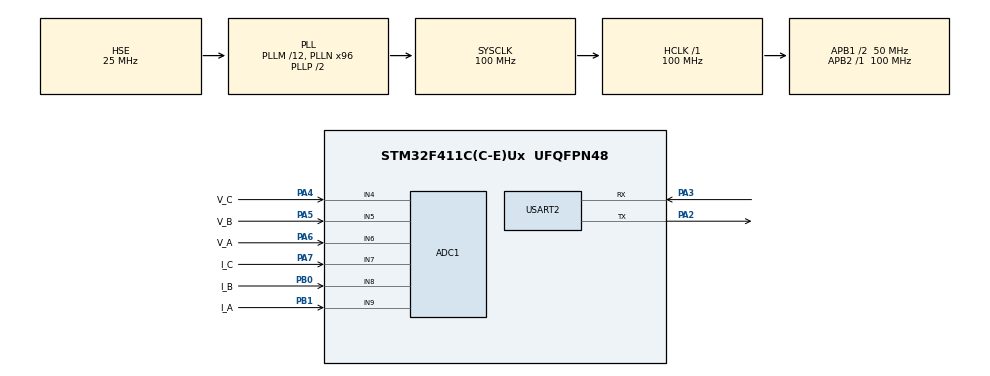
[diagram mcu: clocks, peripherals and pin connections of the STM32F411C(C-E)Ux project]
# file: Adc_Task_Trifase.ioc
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ADC1.Channel-0\#ChannelRegularConversion=ADC_CHANNEL_6
ADC1.Channel-1\#ChannelRegularConversion=ADC_CHANNEL_9
ADC1.Channel-2\#ChannelRegularConversion=ADC_CHANNEL_5
ADC1.Channel-3\#ChannelRegularConversion=ADC_CHANNEL_8
ADC1.Channel-4\#ChannelRegularConversion=ADC_CHANNEL_4
ADC1.Channel-5\#ChannelRegularConversion=ADC_CHANNEL_7
ADC1.ContinuousConvMode=DISABLE
ADC1.DMAContinuousRequests=ENABLE
ADC1.EnableAnalogWatchDog=true
ADC1.ExternalTrigConv=ADC_EXTERNALTRIGCONV_T2_TRGO
ADC1.NbrOfConversion=6
ADC1.NbrOfConversionFlag=1
ADC1.Rank-0\#ChannelRegularConversion=1
ADC1.Rank-1\#ChannelRegularConversion=2
ADC1.Rank-2\#ChannelRegularConversion=3
ADC1.Rank-3\#ChannelRegularConversion=4
ADC1.Rank-4\#ChannelRegularConversion=5
ADC1.Rank-5\#ChannelRegularConversion=6
ADC1.SamplingTime-0\#ChannelRegularConversion=ADC_SAMPLETIME_28CYCLES
ADC1.SamplingTime-1\#ChannelRegularConversion=ADC_SAMPLETIME_28CYCLES
ADC1.SamplingTime-2\#ChannelRegularConversion=ADC_SAMPLETIME_28CYCLES
ADC1.SamplingTime-3\#ChannelRegularConversion=ADC_SAMPLETIME_28CYCLES
ADC1.SamplingTime-4\#ChannelRegularConversion=ADC_SAMPLETIME_28CYCLES
ADC1.SamplingTime-5\#ChannelRegularConversion=ADC_SAMPLETIME_28CYCLES
ADC1.WatchdogChannel=ADC_CHANNEL_6
ADC1.master=1
Dma.ADC1.0.Direction=DMA_PERIPH_TO_MEMORY
Dma.ADC1.0.FIFOMode=DMA_FIFOMODE_DISABLE
Dma.ADC1.0.Instance=DMA2_Stream0
Dma.ADC1.0.MemDataAlignment=DMA_MDATAALIGN_HALFWORD
Dma.ADC1.0.MemInc=DMA_MINC_ENABLE
Dma.ADC1.0.Mode=DMA_CIRCULAR
Dma.ADC1.0.PeriphDataAlignment=DMA_PDATAALIGN_HALFWORD
Dma.ADC1.0.PeriphInc=DMA_PINC_DISABLE
Dma.ADC1.0.Priority=DMA_PRIORITY_VERY_HIGH
Dma.Request0=ADC1
FREERTOS.Tasks01=AdcTaask,24,512,StartAdcTask,Default,NULL,Dynamic,NULL,NULL;UartTask,25,256,StartUartTask,Default,NULL,Dynamic,NULL,NULL
FREERTOS.configUSE_NEWLIB_REENTRANT=1
Mcu.Family=STM32F4
Mcu.Name=STM32F411C(C-E)Ux
Mcu.Package=UFQFPN48
NVIC.DMA2_Stream0_IRQn=true\:5\:0\:false\:false\:true\:true\:false\:true\:true
NVIC.PriorityGroup=NVIC_PRIORITYGROUP_4
NVIC.TIM1_UP_TIM10_IRQn=true\:15\:0\:false\:false\:true\:false\:false\:true\:true
NVIC.TimeBase=TIM1_UP_TIM10_IRQn
NVIC.TimeBaseIP=TIM1
NVIC.USART2_IRQn=true\:5\:0\:false\:false\:true\:true\:true\:true\:true
PA2.Mode=Asynchronous
PA2.Signal=USART2_TX
PA3.Mode=Asynchronous
PA3.Signal=USART2_RX
PA4.GPIO_Label=V_C
PA4.Signal=ADCx_IN4
PA5.GPIO_Label=V_B
PA5.Signal=ADCx_IN5
PA6.GPIO_Label=V_A
PA6.Signal=ADCx_IN6
PA7.GPIO_Label=I_C
PA7.Signal=ADCx_IN7
PB0.GPIO_Label=I_B
PB0.Signal=ADCx_IN8
PB1.GPIO_Label=I_A
PB1.Signal=ADCx_IN9
PH0\ -\ OSC_IN.Mode=HSE-External-Oscillator
PH0\ -\ OSC_IN.Signal=RCC_OSC_IN
PH1\ -\ OSC_OUT.Mode=HSE-External-Oscillator
PH1\ -\ OSC_OUT.Signal=RCC_OSC_OUT
ProjectManager.HeapSize=0x200
ProjectManager.StackSize=0x400
ProjectManager.TargetToolchain=STM32CubeIDE
RCC.48MHZClocksFreq_Value=50000000
RCC.AHBFreq_Value=100000000
RCC.APB1CLKDivider=RCC_HCLK_DIV2
RCC.APB1Freq_Value=50000000
RCC.APB1TimFreq_Value=100000000
RCC.APB2Freq_Value=100000000
RCC.APB2TimFreq_Value=100000000
RCC.CortexFreq_Value=100000000
RCC.HCLKFreq_Value=100000000
RCC.HSE_VALUE=25000000
RCC.HSI_VALUE=16000000
RCC.LSE_VALUE=32768
RCC.PLLM=12
RCC.PLLN=96
RCC.PLLSourceVirtual=RCC_PLLSOURCE_HSE
RCC.SYSCLKFreq_VALUE=100000000
RCC.SYSCLKSource=RCC_SYSCLKSOURCE_PLLCLK
RCC.VCOOutputFreq_Value=200000000
SH.ADCx_IN4.0=ADC1_IN4,IN4
SH.ADCx_IN5.0=ADC1_IN5,IN5
SH.ADCx_IN6.0=ADC1_IN6,IN6
SH.ADCx_IN7.0=ADC1_IN7,IN7
SH.ADCx_IN8.0=ADC1_IN8,IN8
SH.ADCx_IN9.0=ADC1_IN9,IN9
TIM2.Period=13020
TIM2.TIM_MasterOutputTrigger=TIM_TRGO_UPDATE
USART2.VirtualMode=VM_ASYNC
VP_FREERTOS_VS_CMSIS_V2.Mode=CMSIS_V2
VP_SYS_VS_tim1.Mode=TIM1
VP_TIM2_VS_ClockSourceINT.Mode=Internal
board=custom

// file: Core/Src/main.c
/* USER CODE BEGIN Header */
/**
  ******************************************************************************
  * @file           : main.c
  * @brief          : Main program body
  ******************************************************************************
  * @attention
  *
  * Copyright (c) 2025 STMicroelectronics.
  * All rights reserved.
  *
  * This software is licensed under terms that can be found in the LICENSE file
  * in the root directory of this software component.
  * If no LICENSE file comes with this software, it is provided AS-IS.
  *
  ******************************************************************************
  */

/* USER CODE END Header */
#include "main.h"
#include "cmsis_os.h"

/* USER CODE BEGIN Includes */
#include "queue.h"
#include "semphr.h"
#include <math.h>
QueueHandle_t energyqueueHandle;
QueueHandle_t rxuartqueueHandle;
SemaphoreHandle_t uartBinSemaHandle;
QueueHandle_t adchalfselectQueueHandle;
extern UART_HandleTypeDef huart2;
/* USER CODE END Includes */

/* USER CODE BEGIN PTD */

#define MAX_DATA_LEN 	122
typedef struct __attribute__((packed)) _ENERGY_DATA
{
	uint32_t rms_current;
	uint32_t rms_voltage;
	uint32_t pot_aparente;
	uint32_t pot_reativa;
	uint32_t  pot_ativa;
	uint16_t pf;

}ENERGY_DATA; // 176 bit e 22 bytes

//
typedef struct __attribute__((packed)) thee_phase_energy_data_t_ {
	ENERGY_DATA phaseA;
	ENERGY_DATA phaseB;
	ENERGY_DATA phaseC;
	uint64_t consumption;
	uint32_t TotalM_Voltag;
	uint32_t Total_AC_current;
	uint16_t Total_PowerAparent;
	uint32_t Total_PowerReativa;
	uint32_t Total_PowerAtiva;
	uint32_t Total_PowerFactor;
}thee_phase_energy_data_t; // 768 bits e 96 Bytes

typedef union type_ {
	uint32_t bits32;
	uint16_t bits16[2];
}uint32_16_t;

typedef enum {
  UMS_RECEIVING,
  UMS_PROCESSING_RESPONSE_PACKAGE,
  UMS_SENDING_RESPONSE,
  UMS_TIMEOUT
} UART_MACHINE_STATES;

typedef enum ERRORS_LISTtag
{
    EL_NO_ERROR = 0x00,
    EL_INVALID_OPCODE = 0x01,
    EL_INVALID_DATA = 0x02,
    EL_MEMORY_WRITE_ERROR = 0x03,

    EL_NUM_ERRORS
}ERRORS_LIST;

typedef enum {
  UPP_STX,
  UPP_DEVICE_ADDRESS,
  UPP_OPCODE,
  UPP_DATA_LEN,
  UPP_DATA,
  UPP_CHECKSUM,
  UPP_ETX
} UART_PACKAGE_PARTS;
typedef struct {
  unsigned char uc_Stx;
  unsigned char uc_DeviceAddress;
  unsigned char uc_OpCode;
  unsigned char uc_Datalen;
  unsigned char uc_Data[MAX_DATA_LEN];
  unsigned char uc_Checksum;
  unsigned char uc_Etx;
} UART_PACKAGE_PROTOCOL;

// ---- VARIÁVEIS DA UART ----
UART_MACHINE_STATES m_udtUartmachineStates;
UART_PACKAGE_PARTS m_udtUartPackageParts;
UART_PACKAGE_PROTOCOL m_udtReceptionPackage;
UART_PACKAGE_PROTOCOL m_udtTransmitionPackage;

uint8_t m_ucCorrentDataPos = 0;
uint8_t m_ucCalculatedChecksum = 0;
uint8_t m_blnProcessingScapeChar = 0;
uint8_t m_blnReply = 0;

uint8_t rx_buffer; // Buffer de 1 byte para o Callback RX
uint8_t tx_buffer[MAX_DATA_LEN + 10]; // Buffer final de envio
uint8_t m_ucTXBufferCorrentDataPos = 0;

/* USER CODE END PTD */

/* USER CODE BEGIN PD */
#define ADC_RESOLUTION	0.0008056641//0.000837696335f//0.996551//Encontra a tensão da Saída do Sensor x100
#define V_SENSIBILITY 	135.0//789.1033381f//808.1496160//63.37024//Encounter a tensão de entrada do Sensor  x100
#define V_GAIN			ADC_RESOLUTION * V_SENSIBILITY

//DEFINE UART

#define STX 0x02
#define ETX 0x03
#define ESC 0x1B
#define ESC_INC 0x40
#define DEVICE_ADDR 0x01
#define RESPONSE_OPCODE_MASK 0x80

// OPCODES
#define UO_KEEPALIVE 0x01
#define UO_GET_DATA 0x02
#define UO_SETCONFIG 0x03

// ERROS
#define EL_NO_ERROR 0x00
#define EL_INVALID_DATA 0x01
#define EL_MEMORY_WRITE_ERROR 0x02
#define EL_INVALID_OPCODE 0x03

//#define C2_SENSOR_MULT	0.0008056641//0.000878232758f//0.362903//Encontra a tensão da Saída do Sensor x100
#define A_SENSIBILITY	7.575f//5.4691//Encontra a Corrente de entrada do Sensor  x100
#define A_GAIN			ADC_RESOLUTION * A_SENSIBILITY

#define F_BUFFER_SIZE	(256*3)
#define H_BUFFER_SIZE	(128*3)
/*
Isso vai causar um bug de memória grave (seus dados vão virar uma bagunça ou continuar zerados), e eu vou te explicar o porquê de forma simples:
O F_BUFFER_SIZE atual é 768. O DMA vai jogar 768 dados de 16 bits na memória e avisar que chegou na metade (em 384). Mas como o seu array adcBuffer é d
e 32 bits, quando você manda ele ler a posição H_BUFFER_SIZE (384), ele está na verdade indo buscar o dado no endereço 768 da memória... onde não tem nada do ADC! Ele "passa direto" de onde o DMA escreveu.

*/
/*
#define F_BUFFER_SIZE	(128*3) // 384 índices (comportam 768 dados de 16 bits do DMA)
#define H_BUFFER_SIZE	(64*3)  // 192 índices
*/

#define Amostragens 128

#define MIN_RMS_VOLTAGE 300 // pRAque que serve?

uint32_16_t adcBuffer[F_BUFFER_SIZE];
float 	adc_voltageA[Amostragens];
float 	adc_currentA[Amostragens];
float 	adc_voltageB[Amostragens];
float 	adc_currentB[Amostragens];
float 	adc_voltageC[Amostragens];
float 	adc_currentC[Amostragens];

/* USER CODE END PD */

ADC_HandleTypeDef hadc1;
DMA_HandleTypeDef hdma_adc1;

TIM_HandleTypeDef htim2;

UART_HandleTypeDef huart2;

/* Definitions for AdcTaask */
osThreadId_t AdcTaaskHandle;
const osThreadAttr_t AdcTaask_attributes = {
  .name = "AdcTaask",
  .stack_size = 512 * 4,
  .priority = (osPriority_t) osPriorityNormal,
};
/* Definitions for UartTask */
osThreadId_t UartTaskHandle;
const osThreadAttr_t UartTask_attributes = {
  .name = "UartTask",
  .stack_size = 256 * 4,
  .priority = (osPriority_t) osPriorityNormal1,
};
/* USER CODE BEGIN PV */

thee_phase_energy_data_t EnergyData;

/* USER CODE END PV */

void SystemClock_Config(void);
static void MX_GPIO_Init(void);
static void MX_DMA_Init(void);
static void MX_ADC1_Init(void);
static void MX_TIM2_Init(void);
static void MX_USART2_UART_Init(void);
void StartAdcTask(void *argument);
void StartUartTask(void *argument);

/* USER CODE BEGIN PFP */
void Serialize16Bits(uint16_t value, uint8_t *buffer, uint8_t pos)
{
    buffer[pos] = (uint8_t)((value >> 8) & 0xFF);
    pos++;
    buffer[pos] = (uint8_t)(value & 0xFF);

}

void Serialize32Bits(uint32_t value, uint8_t *buffer, uint8_t pos)
{
    buffer[(pos)] = (uint8_t)((value >> 24) & 0xFF);
    pos++;
    buffer[pos] = (uint8_t)((value >> 16) & 0xFF);
    pos++;
    buffer[pos] = (uint8_t)((value >> 8) & 0xFF);
    pos++;
    buffer[pos] = (uint8_t)(value & 0xFF);
}

void Serialize64Bits(uint64_t value, uint8_t *buffer, uint8_t pos)
{
    buffer[pos] = (uint8_t)((value >> 56) & 0xFF);
    pos++;
    buffer[pos] = (uint8_t)((value >> 48) & 0xFF);
    pos++;
    buffer[(pos)] = (uint8_t)((value >> 40) & 0xFF);
    pos++;
    buffer[(pos)] = (uint8_t)((value >> 32) & 0xFF);
    pos++;
    buffer[(pos)] = (uint8_t)((value >> 24) & 0xFF);
    pos++;
    buffer[(pos)] = (uint8_t)((value >> 16) & 0xFF);
    pos++;
    buffer[(pos)] = (uint8_t)((value >> 8) & 0xFF);
    pos++;
    buffer[(pos)] = (uint8_t)(value & 0xFF);

}

/* USER CODE END PFP */

/* USER CODE BEGIN 0 */
void ResetSerial()
{
  // Inicialmente estamos aguardando a recepção dos dados do dispositivo remoto.
  m_udtUartmachineStates = UMS_RECEIVING;
  // Inicialmente estamos aguardando o STX
  m_udtUartPackageParts = UPP_STX;
  // Cria os ponteiros para os pacotes
  unsigned char* pucReceptionpackage = &m_udtReceptionPackage.uc_Stx;
  unsigned char* pucTranmitionpackage = &m_udtTransmitionPackage.uc_Stx;

  unsigned char ucPosition = 0;

  // Prepara a varredura
  while(ucPosition <  sizeof(UART_PACKAGE_PROTOCOL))
  {
      *pucReceptionpackage = 0x00;
      *pucTranmitionpackage = 0x00;
      pucReceptionpackage++;
      pucTranmitionpackage++;

     ucPosition++;
  }

  // Inicializa a posição a ser processada como 0.
  m_ucCorrentDataPos = 0x00;

  // Inicializa o Checksum calculado com 0
  m_ucCalculatedChecksum = 0;

}

unsigned char CalculateChecksum(unsigned char* udtpackage, unsigned char ucLen);
uint8_t SendData(unsigned char ucDataTosend, uint8_t blnIsSpecialChar);

void UartMainProcess(unsigned char ucData)
{
  switch (m_udtUartmachineStates)
  {
    case UMS_RECEIVING:
    {

//      // Verifica se existem dados para ler
      /*if(Serial2.available() == 0)
//      {
        // Sem dados para ler.
        ///////////////////////

        // Cai fora
         break;
       }*/

      // recebe o dado da queue

      /////////////////////////////////////////////////
      // Processamento dos caracteres especiais
      /////////////////////////////////////////////////

      // Verifica se é um inicializador de pacotes
      if( (ucData == STX) && (m_udtUartPackageParts == UPP_STX) )
      {
          // Inicializador de pacotes.
          //////////////////////////////

          // Reseta a serial;
          ResetSerial();

          // Guarda o dado recebido
          m_udtReceptionPackage.uc_Stx = STX;

          // Vai para o próximo estado
          m_udtUartPackageParts = (UART_PACKAGE_PARTS)UPP_DEVICE_ADDRESS;

          // Cai fora.
          break;
      }

      // Verifica se é um terminador de pacotes
      if( ucData == ETX )
      {
        // Terminador de pacotes.
        //////////////////////////////

        // Verifica se está na hora de receber esse dado.
        if( m_udtUartPackageParts != (UART_PACKAGE_PARTS)UPP_ETX )
        {
          // Dado incorreto.
          //////////////////

          // Reseta a serial;
          ResetSerial();

          // Cai fora.
          break;
        }

        m_udtReceptionPackage.uc_Etx = ETX;

        // Vai para o próximo estado
        m_udtUartmachineStates = UMS_PROCESSING_RESPONSE_PACKAGE;
        m_udtUartPackageParts = (UART_PACKAGE_PARTS)UPP_STX;

        // Cai fora
        break;
      }

      // Verifica se é um scape char e se esse deve ser tratado
      if(ucData == ESC)
      {
        m_blnProcessingScapeChar = 1;

        break;
      }

      // Verifica se está no dado pós scape char
      if(m_blnProcessingScapeChar == 1)
      {
        // Dado pós scape char
        ///////////////////////

        // Processa o dado
        ucData = ucData & ~ESC_INC;

        // Indica que já tratou
        m_blnProcessingScapeChar = 0;
      }

      switch (m_udtUartPackageParts)
      {
        case UPP_DEVICE_ADDRESS:
        {
          // Verifica se o dado recebido é o correto.
          if( ucData == DEVICE_ADDR )
          {
              // Dado correto.
              //////////////////

              // Guarda o dado recebido
              m_udtReceptionPackage.uc_DeviceAddress = ucData;

              // Vai para o próximo estado
              m_udtUartPackageParts = (UART_PACKAGE_PARTS)UPP_OPCODE;
          }
        }
        break;
        case UPP_OPCODE:
        {
          // Guarda o dado recebido
          m_udtReceptionPackage.uc_OpCode = ucData;

          // Vai para o próximo estado
          m_udtUartPackageParts = (UART_PACKAGE_PARTS)UPP_DATA_LEN;

        }
        break;
        case UPP_DATA_LEN:
        {
          // Verifica se o dado recebido é o correto.
          if( ucData >= MAX_DATA_LEN )
          {
              // OpCode inválido.
              //////////////////

              // Reseta a serial;
              ResetSerial();

              // Cai fora.
              break;
          }

          // Guarda o dado recebido
          m_udtReceptionPackage.uc_Datalen = ucData;

          // Verifica se existirão dados
          if (m_udtReceptionPackage.uc_Datalen > 0)
          {
              // Existirão dados.
              // /////////////////

              // Vai para o próximo estado
              m_udtUartPackageParts = (UART_PACKAGE_PARTS)UPP_DATA;
          }
          else
          {
              // Não existirão dados.
              // /////////////////////

              // Vai para o próximo estado
              m_udtUartPackageParts = (UART_PACKAGE_PARTS)UPP_CHECKSUM;
          }

        }
        break;
        case UPP_DATA:
        {
          // Guarda o dado recebido
          m_udtReceptionPackage.uc_Data[m_ucCorrentDataPos] = ucData;

          // Incrementa a posição
          m_ucCorrentDataPos++;

          // Verifica se atingiu o número de dados
          if(m_ucCorrentDataPos >= m_udtReceptionPackage.uc_Datalen)
          {
            // Chegou ao fim dos dados
            /////////////////////////////

            // Vai para o próximo estado
            m_udtUartPackageParts = (UART_PACKAGE_PARTS)UPP_CHECKSUM;
          }
        }
        break;
        case UPP_CHECKSUM:
        {
          // Guarda o dado recebido
          m_udtReceptionPackage.uc_Checksum = ucData;

          // Calcula o checksum do pacote
          m_ucCalculatedChecksum = CalculateChecksum(&m_udtReceptionPackage.uc_Stx, (1 + 1 + 1 + 1 + m_udtReceptionPackage.uc_Datalen +1));

          // Verifica se o checksum bateu
          if(m_udtReceptionPackage.uc_Checksum != m_ucCalculatedChecksum)
          {
            // Não bateu
            /////////////

            // Reseta a serial;
            ResetSerial();

            // Cai fora
            break;
          }

          // Vai para o próximo estado
          m_udtUartPackageParts = (UART_PACKAGE_PARTS)UPP_ETX;
        }
        break;
        case UPP_STX:
        case UPP_ETX:
        	break;
      }
    }
    break;
    case UMS_PROCESSING_RESPONSE_PACKAGE:
    {
      // Prepara os dados fixos do pacote
      m_udtTransmitionPackage.uc_Stx = STX;
      m_udtTransmitionPackage.uc_Etx = ETX;
      m_udtTransmitionPackage.uc_DeviceAddress = 0x01;
      m_udtTransmitionPackage.uc_OpCode = RESPONSE_OPCODE_MASK | m_udtReceptionPackage.uc_OpCode;

      switch( m_udtReceptionPackage.uc_OpCode )
      {
         case UO_KEEPALIVE:
         {
            // Prepara o pacote de resposta
            m_udtTransmitionPackage.uc_Datalen = 0x00;

         }
         break;
         case UO_GET_DATA:
                  {
                      thee_phase_energy_data_t m_udtEnergyDataPacket;

                      // 1. Lê os dados reais vindos da Task do ADC
                      xQueueReceive(energyqueueHandle, &m_udtEnergyDataPacket, portMAX_DELAY);

                      // 2. Serializa os dados recebidos da fila (82 bytes no total)
                      m_udtTransmitionPackage.uc_Datalen = 82;

                      // PHASE A (0 a 17)
                      Serialize16Bits(m_udtEnergyDataPacket.phaseA.rms_voltage, m_udtTransmitionPackage.uc_Data, 0);
                      Serialize16Bits(m_udtEnergyDataPacket.phaseA.rms_current, m_udtTransmitionPackage.uc_Data, 2);
                      Serialize16Bits(m_udtEnergyDataPacket.phaseA.pf,          m_udtTransmitionPackage.uc_Data, 4);
                      Serialize32Bits(m_udtEnergyDataPacket.phaseA.pot_aparente,m_udtTransmitionPackage.uc_Data, 6);
                      Serialize32Bits(m_udtEnergyDataPacket.phaseA.pot_ativa,   m_udtTransmitionPackage.uc_Data, 10);
                      Serialize32Bits(m_udtEnergyDataPacket.phaseA.pot_reativa, m_udtTransmitionPackage.uc_Data, 14);

                      // PHASE B (18 a 35)
                      Serialize16Bits(m_udtEnergyDataPacket.phaseB.rms_voltage, m_udtTransmitionPackage.uc_Data, 18);
                      Serialize16Bits(m_udtEnergyDataPacket.phaseB.rms_current, m_udtTransmitionPackage.uc_Data, 20);
                      Serialize16Bits(m_udtEnergyDataPacket.phaseB.pf,          m_udtTransmitionPackage.uc_Data, 22);
                      Serialize32Bits(m_udtEnergyDataPacket.phaseB.pot_aparente,m_udtTransmitionPackage.uc_Data, 24);
                      Serialize32Bits(m_udtEnergyDataPacket.phaseB.pot_ativa,   m_udtTransmitionPackage.uc_Data, 28);
                      Serialize32Bits(m_udtEnergyDataPacket.phaseB.pot_reativa, m_udtTransmitionPackage.uc_Data, 32);

                      // PHASE C (36 a 53)
                      Serialize16Bits(m_udtEnergyDataPacket.phaseC.rms_voltage, m_udtTransmitionPackage.uc_Data, 36);
                      Serialize16Bits(m_udtEnergyDataPacket.phaseC.rms_current, m_udtTransmitionPackage.uc_Data, 38);
                      Serialize16Bits(m_udtEnergyDataPacket.phaseC.pf,          m_udtTransmitionPackage.uc_Data, 40);
                      Serialize32Bits(m_udtEnergyDataPacket.phaseC.pot_aparente,m_udtTransmitionPackage.uc_Data, 42);
                      Serialize32Bits(m_udtEnergyDataPacket.phaseC.pot_ativa,   m_udtTransmitionPackage.uc_Data, 46);
                      Serialize32Bits(m_udtEnergyDataPacket.phaseC.pot_reativa, m_udtTransmitionPackage.uc_Data, 50);

                      // DADOS TOTAIS E CONSUMO (54 a 83)
                      Serialize16Bits(m_udtEnergyDataPacket.Total_PowerAparent, m_udtTransmitionPackage.uc_Data, 54);
                      Serialize32Bits(m_udtEnergyDataPacket.TotalM_Voltag,      m_udtTransmitionPackage.uc_Data, 56);
                      Serialize32Bits(m_udtEnergyDataPacket.Total_AC_current,   m_udtTransmitionPackage.uc_Data, 60);
                      Serialize32Bits(m_udtEnergyDataPacket.Total_PowerAtiva,   m_udtTransmitionPackage.uc_Data, 64);
                      Serialize32Bits(m_udtEnergyDataPacket.Total_PowerFactor,  m_udtTransmitionPackage.uc_Data, 68);
                      Serialize32Bits(m_udtEnergyDataPacket.Total_PowerReativa, m_udtTransmitionPackage.uc_Data, 72);
                      Serialize64Bits(m_udtEnergyDataPacket.consumption,        m_udtTransmitionPackage.uc_Data, 76);
                  }
                  break;
         case UO_SETCONFIG:
         		 {
         			 ERRORS_LIST udtError = EL_NO_ERROR;
         			 uint8_t blnStatus = 0;

         			 // Verifica se o tamanho do pacote condiz com o esperado
         			 if (m_udtReceptionPackage.uc_Datalen == 4)
         			 {
         				 // Era a opcao 1
         				 //////////////////////////////////

         			 }
         			 else if (m_udtReceptionPackage.uc_Datalen == 0)
         			 {
         				 // Ou a opcao 2
         				 ///////////////////////////////

         				// Executa alguma funcao que retorna booleano de validação
         				//blnStatus = SaveParameters(bytLocation);
         			 }
         			 else
         			 {
         				 //Erro, dados inválidos
         				 /////////////////////////

         				 // Indica o erro
         				 udtError = EL_INVALID_DATA;
         			 }

         			 //Verifica se já veio com erro
         			 if (udtError == EL_NO_ERROR)
         			 {
         				 // Chegou sem erros
         				 ////////////////////

         				 // Verifica se deu algum erro de escrita
         				 if (blnStatus == 0)
         				 {
         					 // Deu erro de escrita
         					 /////////////////////////

         					 // Guarda o erro.
         					 udtError = EL_MEMORY_WRITE_ERROR;
         				 }
         			 }
         			// Prepara os dados que serão enviados (resposta de valdiação)
         			m_udtTransmitionPackage.uc_Datalen = 0x01;	//tamanho do pacote de resposta
         			m_udtTransmitionPackage.uc_Data[0] = (uint8_t)udtError & 0xFF;
         		 }
         		 break;

		 default:
		 {
			 // Retorna um erro
			 ///////////////////

			 // Força o OPCODE de erro

			 m_udtTransmitionPackage.uc_OpCode = RESPONSE_OPCODE_MASK | UO_SETCONFIG;
			m_udtTransmitionPackage.uc_Datalen = 0x01;
			m_udtTransmitionPackage.uc_Data[0] = EL_INVALID_OPCODE;
		 }
      }

      // Calcula o Checksum do pacote a ser enviado
      m_udtTransmitionPackage.uc_Checksum = CalculateChecksum(&m_udtTransmitionPackage.uc_Stx, (1 + 1 + 1 + 1 + m_udtTransmitionPackage.uc_Datalen + 1));

      // Vai para o próximo estado
      m_udtUartmachineStates = UMS_SENDING_RESPONSE;
      m_udtUartPackageParts = (UART_PACKAGE_PARTS)UPP_STX;
    }
    break;
    case UMS_SENDING_RESPONSE:
    {
      //Aqui poderia verificar se a serial está disponivel para responder
//      if( Serial2.availableForWrite() == 0 )
//      {
//        // Não pode transmitir.
//        /////////////////////////
//
//        // Cai fora.
//        break;
//      }

      switch (m_udtUartPackageParts)
      {
        case UPP_STX:
        {
          // Escreve
          if(SendData(m_udtTransmitionPackage.uc_Stx, 1) == 1)
          {
            // Vai para o próximo estado
            m_udtUartPackageParts = (UART_PACKAGE_PARTS)UPP_DEVICE_ADDRESS;
          }
        }
        break;
        case UPP_DEVICE_ADDRESS:
        {
          // Escreve
          if(SendData(m_udtTransmitionPackage.uc_DeviceAddress, 0) == 1)
          {
            // Vai para o próximo estado
            m_udtUartPackageParts = (UART_PACKAGE_PARTS)UPP_OPCODE;
          }
        }
        break;
        case UPP_OPCODE:
        {
          // Escreve
          if(SendData(m_udtTransmitionPackage.uc_OpCode, 0) == 1)
          {
            // Vai para o próximo estado
            m_udtUartPackageParts = (UART_PACKAGE_PARTS)UPP_DATA_LEN;
          }
        }
        break;
        case UPP_DATA_LEN:
        {
          // Escreve
          if(SendData(m_udtTransmitionPackage.uc_Datalen, 0) == 1)
          {
            // Zera a posição
            m_ucCorrentDataPos = 0x00;

            // Verifica se existirão dados
            if (m_udtTransmitionPackage.uc_Datalen > 0)
            {
                // Existirão dados.
                // /////////////////

                // Vai para o próximo estado
                m_udtUartPackageParts = (UART_PACKAGE_PARTS)UPP_DATA;
            }
            else
            {
                // Não existirão dados.
                ////////////////////////

                // Vai para o próximo estado
                m_udtUartPackageParts = (UART_PACKAGE_PARTS)UPP_CHECKSUM;
            }
          }
        }
        break;
        case UPP_DATA:
        {
          // Escreve
          if(SendData(m_udtTransmitionPackage.uc_Data[m_ucCorrentDataPos], 0) == 1)
          {
            // Incrementa a posição
            m_ucCorrentDataPos++;

            // Verifica se atingiu o número de dados
            if(m_ucCorrentDataPos >= m_udtTransmitionPackage.uc_Datalen)
            {
              // Chegou ao fim dos dados
              /////////////////////////////

              // Vai para o próximo estado
              m_udtUartPackageParts = (UART_PACKAGE_PARTS)UPP_CHECKSUM;
            }
          }

        }
        break;
        case UPP_CHECKSUM:
        {
          // Escreve
          if(SendData(m_udtTransmitionPackage.uc_Checksum, 0) == 1)
          {
            // Vai para o próximo estado
            m_udtUartPackageParts = (UART_PACKAGE_PARTS)UPP_ETX;
          }
        }
        break;
        case UPP_ETX:
        {
          // Escreve
          if(SendData(m_udtTransmitionPackage.uc_Etx, 1) == 1)
          {
        	 //Indica para a task que pode enviar a resposta
        	 m_blnReply = 1;

        	 ResetSerial();
          }
        }
        break;
      }
    }
    break;
    case UMS_TIMEOUT:
    {
      // Timeout
      ////////////

      // Reseta a serial;
      ResetSerial();
    }
    break;
  }

}
uint8_t SendData(unsigned char ucDataTosend, uint8_t blnIsSpecialChar)
{

  // Cria a variável de retorno indicando que foi um dado normal
  // false indica um scape char e não deve ir para o próximo
  uint8_t blnReturnValue = 1;

  // Verifica se é um caractere especial.
  if( blnIsSpecialChar == 0 )
  {
    // Não é um caractere especial,
    // devemos tratar
    ///////////////////////////////

    // Verifica se processou um caractere especial na última passada.
    if( m_blnProcessingScapeChar == 1 )
    {
      // Sinalizou um caractere igual a um
      // especial na última passada.
      ///////////////////////////////////////

      // Altera o dado
      ucDataTosend = ucDataTosend | ESC_INC;

      // Indica que já processou.
      m_blnProcessingScapeChar = 0;
    }
    else
    {
      // Não foi um igual a especial na última passada.
      ////////////////////////////////////////////////////

      // Verifica se é item igual a um especial
      if(
          (ucDataTosend == STX)
          ||(ucDataTosend == ETX)
          ||(ucDataTosend == ESC))
      {
        // É um especial
        /////////////////

        // Eviou um scape char, não deve avançar
        blnReturnValue = 0;

        // Indica que enviou um especial
        m_blnProcessingScapeChar = 1;

        // altera o dado
        ucDataTosend = ESC;
      }
    }
  }

  tx_buffer[m_ucTXBufferCorrentDataPos] = ucDataTosend;
  m_ucTXBufferCorrentDataPos++;

  //Serial2.write(ucDataTosend);

  return blnReturnValue;
}

unsigned char CalculateChecksum(unsigned char* udtpackage, unsigned char ucLen)
{
  // Cria a inicializa a variável de retorno.
  unsigned char ucChecksum = 0;

  // Cria a variável do controle de posição
  unsigned char ucPosition = 0;

  // Prepara a varredura
  while(ucPosition < ucLen)
  {
    //Varre os dados.
    //////////////////

    // Soma  o valor da vez.
    ucChecksum = ucChecksum + *udtpackage;

    // Atualiza os indices
    udtpackage++;
    ucPosition++;

  }

  // Retorna a informação
  return ucChecksum;
}

/* USER CODE END 0 */

int main(void)
{

  /* MCU Configuration--------------------------------------------------------*/

  /* Reset of all peripherals, Initializes the Flash interface and the Systick. */
  HAL_Init();

  /* Configure the system clock */
  SystemClock_Config();

  /* Initialize all configured peripherals */
  MX_GPIO_Init();
  MX_DMA_Init();
  MX_ADC1_Init();
  MX_TIM2_Init();
  MX_USART2_UART_Init();
  /* USER CODE BEGIN 2 */

 	    /* USER CODE END StartAdcTask */

  /* USER CODE END 2 */

  /* Init scheduler */
  osKernelInitialize();

  /* USER CODE BEGIN RTOS_QUEUES */
  /* add queues, ... */
  // Fila para mandar os dados do ADC para a UART (Tamanho 1, pois só queremos o dado mais recente)
    energyqueueHandle = xQueueCreate(1, sizeof(thee_phase_energy_data_t));

    // Fila para receber bytes da porta serial
    rxuartqueueHandle = xQueueCreate(64, sizeof(uint8_t));

    // Semáforo para avisar o fim da transmissão TX
    uartBinSemaHandle = xSemaphoreCreateBinary();

    // Fila para o sinal do DMA (tamanho 1, guarda apenas um uint8_t)
    adchalfselectQueueHandle = xQueueCreate(1, sizeof(uint8_t));
  /* USER CODE END RTOS_QUEUES */

  /* Create the thread(s) */
  /* creation of AdcTaask */
  AdcTaaskHandle = osThreadNew(StartAdcTask, NULL, &AdcTaask_attributes);

  /* creation of UartTask */
  UartTaskHandle = osThreadNew(StartUartTask, NULL, &UartTask_attributes);

  /* Start scheduler */
  osKernelStart();

  /* We should never get here as control is now taken by the scheduler */

  /* Infinite loop */
  while (1)
  {

  }
}

void SystemClock_Config(void)
{
  RCC_OscInitTypeDef RCC_OscInitStruct = {0};
  RCC_ClkInitTypeDef RCC_ClkInitStruct = {0};

  /** Configure the main internal regulator output voltage
  */
  __HAL_RCC_PWR_CLK_ENABLE();
  __HAL_PWR_VOLTAGESCALING_CONFIG(PWR_REGULATOR_VOLTAGE_SCALE1);

  /** Initializes the RCC Oscillators according to the specified parameters
  * in the RCC_OscInitTypeDef structure.
  */
  RCC_OscInitStruct.OscillatorType = RCC_OSCILLATORTYPE_HSE;
  RCC_OscInitStruct.HSEState = RCC_HSE_ON;
  RCC_OscInitStruct.PLL.PLLState = RCC_PLL_ON;
  RCC_OscInitStruct.PLL.PLLSource = RCC_PLLSOURCE_HSE;
  RCC_OscInitStruct.PLL.PLLM = 12;
  RCC_OscInitStruct.PLL.PLLN = 96;
  RCC_OscInitStruct.PLL.PLLP = RCC_PLLP_DIV2;
  RCC_OscInitStruct.PLL.PLLQ = 4;
  if (HAL_RCC_OscConfig(&RCC_OscInitStruct) != HAL_OK)
  {
    Error_Handler();
  }

  /** Initializes the CPU, AHB and APB buses clocks
  */
  RCC_ClkInitStruct.ClockType = RCC_CLOCKTYPE_HCLK|RCC_CLOCKTYPE_SYSCLK
                              |RCC_CLOCKTYPE_PCLK1|RCC_CLOCKTYPE_PCLK2;
  RCC_ClkInitStruct.SYSCLKSource = RCC_SYSCLKSOURCE_PLLCLK;
  RCC_ClkInitStruct.AHBCLKDivider = RCC_SYSCLK_DIV1;
  RCC_ClkInitStruct.APB1CLKDivider = RCC_HCLK_DIV2;
  RCC_ClkInitStruct.APB2CLKDivider = RCC_HCLK_DIV1;

  if (HAL_RCC_ClockConfig(&RCC_ClkInitStruct, FLASH_LATENCY_3) != HAL_OK)
  {
    Error_Handler();
  }
}

static void MX_ADC1_Init(void)
{

  ADC_AnalogWDGConfTypeDef AnalogWDGConfig = {0};
  ADC_ChannelConfTypeDef sConfig = {0};

  /** Configure the global features of the ADC (Clock, Resolution, Data Alignment and number of conversion)
  */
  hadc1.Instance = ADC1;
  hadc1.Init.ClockPrescaler = ADC_CLOCK_SYNC_PCLK_DIV4;
  hadc1.Init.Resolution = ADC_RESOLUTION_12B;
  hadc1.Init.ScanConvMode = ENABLE;
  hadc1.Init.ContinuousConvMode = DISABLE;
  hadc1.Init.DiscontinuousConvMode = DISABLE;
  hadc1.Init.ExternalTrigConvEdge = ADC_EXTERNALTRIGCONVEDGE_RISING;
  hadc1.Init.ExternalTrigConv = ADC_EXTERNALTRIGCONV_T2_TRGO;
  hadc1.Init.DataAlign = ADC_DATAALIGN_RIGHT;
  hadc1.Init.NbrOfConversion = 6;
  hadc1.Init.DMAContinuousRequests = ENABLE;
  hadc1.Init.EOCSelection = ADC_EOC_SINGLE_CONV;
  if (HAL_ADC_Init(&hadc1) != HAL_OK)
  {
    Error_Handler();
  }

  /** Configure the analog watchdog
  */
  AnalogWDGConfig.WatchdogMode = ADC_ANALOGWATCHDOG_SINGLE_REG;
  AnalogWDGConfig.HighThreshold = 0;
  AnalogWDGConfig.LowThreshold = 0;
  AnalogWDGConfig.Channel = ADC_CHANNEL_6;
  AnalogWDGConfig.ITMode = DISABLE;
  if (HAL_ADC_AnalogWDGConfig(&hadc1, &AnalogWDGConfig) != HAL_OK)
  {
    Error_Handler();
  }

  /** Configure for the selected ADC regular channel its corresponding rank in the sequencer and its sample time.
  */
  sConfig.Channel = ADC_CHANNEL_6;
  sConfig.Rank = 1;
  sConfig.SamplingTime = ADC_SAMPLETIME_28CYCLES;
  if (HAL_ADC_ConfigChannel(&hadc1, &sConfig) != HAL_OK)
  {
    Error_Handler();
  }

  /** Configure for the selected ADC regular channel its corresponding rank in the sequencer and its sample time.
  */
  sConfig.Channel = ADC_CHANNEL_9;
  sConfig.Rank = 2;
  if (HAL_ADC_ConfigChannel(&hadc1, &sConfig) != HAL_OK)
  {
    Error_Handler();
  }

  /** Configure for the selected ADC regular channel its corresponding rank in the sequencer and its sample time.
  */
  sConfig.Channel = ADC_CHANNEL_5;
  sConfig.Rank = 3;
  if (HAL_ADC_ConfigChannel(&hadc1, &sConfig) != HAL_OK)
  {
    Error_Handler();
  }

  /** Configure for the selected ADC regular channel its corresponding rank in the sequencer and its sample time.
  */
  sConfig.Channel = ADC_CHANNEL_8;
  sConfig.Rank = 4;
  if (HAL_ADC_ConfigChannel(&hadc1, &sConfig) != HAL_OK)
  {
    Error_Handler();
  }

  /** Configure for the selected ADC regular channel its corresponding rank in the sequencer and its sample time.
  */
  sConfig.Channel = ADC_CHANNEL_4;
  sConfig.Rank = 5;
  if (HAL_ADC_ConfigChannel(&hadc1, &sConfig) != HAL_OK)
  {
    Error_Handler();
  }

  /** Configure for the selected ADC regular channel its corresponding rank in the sequencer and its sample time.
  */
  sConfig.Channel = ADC_CHANNEL_7;
  sConfig.Rank = 6;
  if (HAL_ADC_ConfigChannel(&hadc1, &sConfig) != HAL_OK)
  {
    Error_Handler();
  }

}

static void MX_TIM2_Init(void)
{

  TIM_ClockConfigTypeDef sClockSourceConfig = {0};
  TIM_MasterConfigTypeDef sMasterConfig = {0};

  htim2.Instance = TIM2;
  htim2.Init.Prescaler = 0;
  htim2.Init.CounterMode = TIM_COUNTERMODE_UP;
  htim2.Init.Period = 13020;
  htim2.Init.ClockDivision = TIM_CLOCKDIVISION_DIV1;
  htim2.Init.AutoReloadPreload = TIM_AUTORELOAD_PRELOAD_DISABLE;
  if (HAL_TIM_Base_Init(&htim2) != HAL_OK)
  {
    Error_Handler();
  }
  sClockSourceConfig.ClockSource = TIM_CLOCKSOURCE_INTERNAL;
  if (HAL_TIM_ConfigClockSource(&htim2, &sClockSourceConfig) != HAL_OK)
  {
    Error_Handler();
  }
  sMasterConfig.MasterOutputTrigger = TIM_TRGO_UPDATE;
  sMasterConfig.MasterSlaveMode = TIM_MASTERSLAVEMODE_DISABLE;
  if (HAL_TIMEx_MasterConfigSynchronization(&htim2, &sMasterConfig) != HAL_OK)
  {
    Error_Handler();
  }

}

static void MX_USART2_UART_Init(void)
{

  huart2.Instance = USART2;
  huart2.Init.BaudRate = 115200;
  huart2.Init.WordLength = UART_WORDLENGTH_8B;
  huart2.Init.StopBits = UART_STOPBITS_1;
  huart2.Init.Parity = UART_PARITY_NONE;
  huart2.Init.Mode = UART_MODE_TX_RX;
  huart2.Init.HwFlowCtl = UART_HWCONTROL_NONE;
  huart2.Init.OverSampling = UART_OVERSAMPLING_16;
  if (HAL_UART_Init(&huart2) != HAL_OK)
  {
    Error_Handler();
  }

}

static void MX_DMA_Init(void)
{

  /* DMA controller clock enable */
  __HAL_RCC_DMA2_CLK_ENABLE();

  /* DMA interrupt init */
  /* DMA2_Stream0_IRQn interrupt configuration */
  HAL_NVIC_SetPriority(DMA2_Stream0_IRQn, 5, 0);
  HAL_NVIC_EnableIRQ(DMA2_Stream0_IRQn);

}

static void MX_GPIO_Init(void)
{

  /* GPIO Ports Clock Enable */
  __HAL_RCC_GPIOH_CLK_ENABLE();
  __HAL_RCC_GPIOA_CLK_ENABLE();
  __HAL_RCC_GPIOB_CLK_ENABLE();

}

/* USER CODE BEGIN 4 */
void HAL_UART_TxCpltCallback(UART_HandleTypeDef *huart)
{
    if(huart->Instance == USART2)
    {
        BaseType_t xHigherPriorityTaskWoken = pdFALSE;
        // Libera o semáforo para destravar a StartUartTask
        xSemaphoreGiveFromISR(uartBinSemaHandle, &xHigherPriorityTaskWoken);
        portYIELD_FROM_ISR(xHigherPriorityTaskWoken);
    }
}
void HAL_ADC_ConvHalfCpltCallback(ADC_HandleTypeDef* hadc)
{
    // Verifica se a interrupção veio do ADC1
    if(hadc->Instance == ADC1)
    {
        uint8_t side = 1; // Avisa a Task que a Metade 1 está pronta
        BaseType_t xHigherPriorityTaskWoken = pdFALSE;

        // Envia o número 1 para a fila de dentro de uma interrupção (ISR)
        xQueueSendFromISR(adchalfselectQueueHandle, &side, &xHigherPriorityTaskWoken);

        // Pede ao FreeRTOS para acordar a Task imediatamente se ela for prioritária
        portYIELD_FROM_ISR(xHigherPriorityTaskWoken);
    }
}

void HAL_ADC_ConvCpltCallback(ADC_HandleTypeDef* hadc)
{
    // Verifica se a interrupção veio do ADC1
    if(hadc->Instance == ADC1)
    {
        uint8_t side = 2; // Avisa a Task que a Metade 2 está pronta
        BaseType_t xHigherPriorityTaskWoken = pdFALSE;

        // Envia o número 2 para a fila de dentro de uma interrupção (ISR)
        xQueueSendFromISR(adchalfselectQueueHandle, &side, &xHigherPriorityTaskWoken);

        portYIELD_FROM_ISR(xHigherPriorityTaskWoken);
    }
}

void HAL_UART_RxCpltCallback(UART_HandleTypeDef *huart)
{
    if (huart->Instance == USART2)
    {
        BaseType_t xHigherPriorityTaskWoken = pdFALSE;

        // Envia o byte recebido para a fila da UART
        xQueueSendFromISR(rxuartqueueHandle, &rx_buffer, &xHigherPriorityTaskWoken);

        // Arma a interrupção de novo para o próximo byte
        HAL_UART_Receive_IT(&huart2, &rx_buffer, 1);

        portYIELD_FROM_ISR(xHigherPriorityTaskWoken);
    }
}

//Funções para empacotar as variaveis de dados da Energya em 1 byte para envio da Uart

/* USER CODE END 4 */

void StartAdcTask(void *argument)
{
  /* USER CODE BEGIN 5 */

		 	  	uint32_t accumulated_active_power = 0;

		 	  	float cc_voltageA = 0;
		 	  	float cc_voltageB = 0;
		 	  	float cc_voltageC = 0;
		 	  	float cc_currentA = 0;
		 	  	float cc_currentB = 0;
		 	  	float cc_currentC = 0;
		 	  	uint16_t i = 0;
		 	  	uint16_t j = 0;
		 	  	uint16_t cycle_count = 0;
		 	  	uint8_t sidebuffer_choice = 0;
		 	  	uint64_t accumulated_consumption = 0;
		 	  	thee_phase_energy_data_t EnergyData;
		 	  	/*EnergyData.consumption = 0;
		 	  	EnergyData.TotalM_Voltag = 0;
		 	  	EnergyData.Total_AC_current = 0;
		 	  	EnergyData.Total_PowerAparent = 0;
		 	  	EnergyData.Total_PowerAtiva = 0;
		 	  	EnergyData.Total_PowerFactor = 0;
		 	  	EnergyData.Total_PowerReativa = 0;*/

		 	  	HAL_ADC_Start_DMA(&hadc1, (uint32_t*)adcBuffer, F_BUFFER_SIZE*2);
		 	  	HAL_TIM_Base_Start(&htim2);

		 	    /* Infinite loop */
		 	    while(1)
		 	    {
		 	  		xQueueReceive(adchalfselectQueueHandle, &sidebuffer_choice, portMAX_DELAY);

		 	  		cc_voltageA = 0;
		 	  		cc_currentA = 0;
		 	  		//////////////////
		 	  		cc_voltageB = 0;
		 			cc_currentB = 0;
		 			////////////////
		 			cc_voltageC = 0;
		 			cc_currentC = 0;

		 			//Inicializando Variaveis dos dados de Eenergia
		 			EnergyData.phaseB.pot_ativa = 0;
		 			EnergyData.phaseA.pot_aparente = 0;
		 			EnergyData.phaseA.pot_reativa = 0;
		 			EnergyData.phaseA.rms_voltage = 0;
		 			EnergyData.phaseA.rms_current = 0;
		 			EnergyData.phaseA.pf = 0;

		 			EnergyData.phaseB.pot_ativa = 0;
					EnergyData.phaseB.pot_aparente = 0;
					EnergyData.phaseB.pot_reativa = 0;
					EnergyData.phaseB.rms_voltage = 0;
					EnergyData.phaseB.rms_current = 0;
					EnergyData.phaseB.pf = 0;

					EnergyData.phaseC.pot_ativa = 0;
					EnergyData.phaseC.pot_aparente = 0;
					EnergyData.phaseC.pot_reativa = 0;
					EnergyData.phaseC.rms_voltage = 0;
					EnergyData.phaseC.rms_current = 0;
					EnergyData.phaseC.pf = 0;

		 	  		if (sidebuffer_choice == 1){
		 	  			i = 0;
		 	  		}
		 	  		if (sidebuffer_choice == 2){
		 	  			i = H_BUFFER_SIZE;
		 	  		}

		 	  		j = 0;
		 	  		for(uint16_t c = i; c < (H_BUFFER_SIZE + i); c += 3){
		 	  				// Extrai os 16 primeiros bits, referentes ao canal 0 do ADC(V primeiro sinal)
		 	  				adc_voltageA[j] = (float)adcBuffer[c].bits16[0];
		 	  				cc_voltageA += adc_voltageA[j];
		 	  				// Extrai o segundo bloco de 16 bits, que vem do canal 1 do ADC, que é referente a corrente do primeir sinal
		 	  				adc_currentA[j] = (float)adcBuffer[c].bits16[1];
		 	  				cc_currentA += adc_currentA[j];
		 	  				//Repete o ciclo para pegar o 2º sinais:
		 	  				adc_voltageB[j] = (float)adcBuffer[c+1].bits16[0];
		 	  				cc_voltageB += adc_voltageB[j];
		 	  				adc_currentB[j] = (float)adcBuffer[c+1].bits16[1];
		 	  				cc_currentB += adc_currentB[j];
		 	  				//REPETE O CICLO PARA PEGAR O 3º SINAL
		 	  				adc_voltageC[j] = (float)adcBuffer[c+2].bits16[0];
		 					cc_voltageC += adc_voltageC[j];
		 					adc_currentC[j] = (float)adcBuffer[c+2].bits16[1];
		 	  			    cc_currentC += adc_currentC[j];
		 	  				j++;
		 	  		}
		 	  		//Calculando o OffSet da aquisição dos dados do ADC
		 	  		cc_voltageA /= (float)Amostragens;
		 	  		cc_currentA /= (float)Amostragens;
		 	  		cc_voltageB /= (float)Amostragens;
		 			cc_currentB /= (float)Amostragens;
		 			cc_voltageC /= (float)Amostragens;
		 			cc_currentC /= (float)Amostragens;

		 	  		float rms_voltageA = 0.0;
		 	  		float rms_currentA = 0.0;
		 	  		float pot_ativaA = 0.0;
		 	  		///////////////////////
		 	  		float rms_voltageB = 0.0;
		 			float rms_currentB = 0.0;
		 			float pot_ativaB = 0.0;
		 			////////////////////////
		 			float rms_voltageC = 0.0;
		 			float rms_currentC = 0.0;
		 			float pot_ativaC = 0.0;
		 	  		for(uint16_t c = 0; c < Amostragens; c++){
		 	  			// retirando o offSet da aquisição de dados do ADC e somando o quadrado
		 	  			rms_voltageA += (adc_voltageA[c] - cc_voltageA) * (adc_voltageA[c] - cc_voltageA);
		 	  			rms_currentA += (adc_currentA[c] - cc_currentA) * (adc_currentA[c] - cc_currentA);
		 	  			pot_ativaA += (adc_currentA[c] - cc_currentA) * (adc_voltageA[c] - cc_voltageA);
		 	  			///Retirando offSet da aquisição do ADC e somando as POTENCIAS
		 	  			rms_voltageB += (adc_voltageB[c] - cc_voltageB) * (adc_voltageB[c] - cc_voltageB);
		 				rms_currentB += (adc_currentB[c] - cc_currentB) * (adc_currentB[c] - cc_currentB);
		 				pot_ativaB += (adc_currentB[c] - cc_currentB) * (adc_voltageB[c] - cc_voltageB);
		 				///RETIRANDO OFFSET DA AQUISIÇÃO DO ADC E SOMANDO AS POTENCIAS
		 				rms_voltageC += (adc_voltageC[c] - cc_voltageC) * (adc_voltageC[c] - cc_voltageC);
		 				rms_currentC += (adc_currentC[c] - cc_currentC) * (adc_currentC[c] - cc_currentC);
		 				pot_ativaC += (adc_currentC[c] - cc_currentC) * (adc_voltageC[c] - cc_voltageC);

		 	  		}
		 	  		// Terminando o calcul do valor RMS: Fazendo a media e retirando sua raiz dos valores já elevados ao quadrado
		 	  		rms_voltageA /= (float)Amostragens;
		 	  		rms_voltageA = sqrtf(rms_voltageA) * V_GAIN;      // 	Como foi calculado o ganho do ADC?

		 	  		rms_currentA = sqrtf(rms_currentA) * A_GAIN;
		 	  		rms_currentA /= (float)Amostragens;
		 	  		//////
		 	  		rms_voltageB /= (float)Amostragens;
		 	  		rms_voltageB = sqrtf(rms_voltageB) * V_GAIN;     // 	Como foi calculado o ganho do ADC?

		 	  		rms_currentB /= (float)Amostragens;
		 			rms_currentB = sqrtf(rms_currentB) * A_GAIN;
		 			////
		 			rms_voltageC /= (float)Amostragens;
		 			rms_voltageC = sqrtf(rms_voltageC) * V_GAIN;     // 	Como foi calculado o ganho do ADC?

		 			rms_currentC /= (float)Amostragens;
		 			rms_currentC = sqrtf(rms_currentC) * A_GAIN;
		 			//Calculo da potencia Ativa de cada fase e passando para variavel de dados:
		 			pot_ativaA /= (float)Amostragens;
		 			//Passando o valor da potencia ativa para seu modulo e passando o valor limitado do ADC para o valor real
		 			pot_ativaA = fabsf(pot_ativaA) * V_GAIN * A_GAIN;
		 			EnergyData.phaseA.pot_ativa = (uint32_t)(pot_ativaA*100.0);

		 			pot_ativaB /= (float)Amostragens;
		 			pot_ativaB = fabsf(pot_ativaB) * V_GAIN * A_GAIN;
		 			EnergyData.phaseB.pot_ativa = (uint32_t)(pot_ativaB*100.0);

		 			pot_ativaC /= (float)Amostragens;
		 			pot_ativaC = fabsf(pot_ativaC) * V_GAIN * A_GAIN;
		 			EnergyData.phaseC.pot_ativa = (uint32_t)(pot_ativaC*100.0);
		 			//Passando os valores RMS para a variavel de dados
		 			EnergyData.phaseA.rms_voltage = (uint32_t)(rms_voltageA*10.0);
		 			EnergyData.phaseA.rms_current = (uint32_t)(rms_currentA*100.0);

		 			EnergyData.phaseB.rms_voltage = (uint32_t)(rms_voltageB*10.0);
		 			EnergyData.phaseB.rms_current = (uint32_t)(rms_currentB*100.0);

		 			EnergyData.phaseC.rms_voltage = (uint32_t)(rms_voltageC*10.0);
		 			EnergyData.phaseC.rms_current = (uint32_t)(rms_currentC*100.0);

		 			//Validação Primeiro sinal
		 	  		float pot_aparenteA = 0.0;
		 	  		if ((EnergyData.phaseA.rms_voltage * EnergyData.phaseA.rms_current) > 0)
		 	  	    {
		 	  			pot_aparenteA = rms_voltageA * rms_currentA;
		 	  			EnergyData.phaseA.pot_aparente = (uint32_t)(pot_aparenteA * 100.0);
		 	  	    }
		 	  		float pot_reativaA = 0.0;
		 	  		if ((EnergyData.phaseA.pot_aparente > 0) && (EnergyData.phaseA.pot_ativa > 0))
		 	  		{
		 	  			pot_reativaA = sqrtf((pot_aparenteA * pot_aparenteA) - (pot_ativaA * pot_ativaA));
		 	  			EnergyData.phaseA.pot_reativa = (uint32_t)(pot_reativaA * 100.0);
		 	  		}

		 	  		if ((EnergyData.phaseA.pot_ativa > 0) && (EnergyData.phaseA.pot_aparente > 0))
		 	  	    {
		 	  			EnergyData.phaseA.pf = (EnergyData.phaseA.pot_ativa*1000)/EnergyData.phaseA.pot_aparente;
		 	  	    }
		 	  		//////segundo sinal///////////
		 	  		float pot_aparenteB = 0.0;
		 			if ((EnergyData.phaseB.rms_voltage * EnergyData.phaseB.rms_current) > 0)
		 			{
		 				pot_aparenteB= rms_voltageB * rms_currentB;
		 				EnergyData.phaseB.pot_aparente = (uint32_t)(pot_aparenteB * 100.0);
		 			}
		 			float pot_reativaB = 0.0;
		 			if ((EnergyData.phaseB.pot_aparente > 0) && (EnergyData.phaseB.pot_ativa > 0))
		 			{
		 				pot_reativaB = sqrtf((pot_aparenteB * pot_aparenteB) - (pot_ativaB * pot_ativaB));
		 				EnergyData.phaseB.pot_reativa = (uint32_t)(pot_reativaB * 100.0);
		 			}

		 			if ((EnergyData.phaseB.pot_ativa > 0) && (EnergyData.phaseB.pot_aparente > 0))
		 			{
		 				EnergyData.phaseB.pf = (EnergyData.phaseB.pot_ativa*1000)/EnergyData.phaseB.pot_aparente;
		 			} //ESSE IF É A MESMA COISA DO DE CIMA, NÃO DARIA PARA POR ELE DENTRO DO OUTRO IF?

		 			/////Terceira senoide////
		 			float pot_aparenteC = 0.0;
		 			if ((EnergyData.phaseC.rms_voltage * EnergyData.phaseC.rms_current) > 0)
		 			{
		 				pot_aparenteC = rms_voltageC * rms_currentC;
		 				EnergyData.phaseC.pot_aparente = (uint32_t)(pot_aparenteC * 100.0);
		 			}
		 			float pot_reativaC = 0.0;
		 			if ((EnergyData.phaseC.pot_aparente > 0) && (EnergyData.phaseC.pot_ativa > 0))
		 			{
		 				pot_reativaC = sqrtf((pot_aparenteC * pot_aparenteC) - (pot_ativaC * pot_ativaC));
		 				EnergyData.phaseC.pot_reativa = (uint32_t)(pot_reativaC * 100.0);
		 			}

		 			if ((EnergyData.phaseC.pot_ativa > 0) && (EnergyData.phaseC.pot_aparente > 0))
		 			{
		 				EnergyData.phaseC.pf = (EnergyData.phaseC.pot_ativa*1000)/EnergyData.phaseC.pot_aparente;
		 			}
		 	  		accumulated_active_power += ((EnergyData.phaseA.pot_ativa + EnergyData.phaseB.pot_ativa + EnergyData.phaseC.pot_ativa));

		 	  		cycle_count++;
		 	  		//Cria
		 	  		if (cycle_count >= 60)
		 	  		{
		 	  			accumulated_consumption += (uint64_t)(accumulated_active_power/216000);
		 	  			EnergyData.consumption = (accumulated_consumption / 100);  // k\h com uma casa depois da virgula
		 	  			EnergyData.TotalM_Voltag = (EnergyData.phaseA.rms_voltage + EnergyData.phaseB.rms_voltage + EnergyData.phaseC.rms_voltage);
						EnergyData.Total_AC_current = (EnergyData.phaseA.rms_current + EnergyData.phaseB.rms_current + EnergyData.phaseC.rms_current);
						EnergyData.Total_PowerAparent = (EnergyData.phaseA.pot_aparente + EnergyData.phaseB.pot_aparente + EnergyData.phaseC.pot_aparente);
						EnergyData.Total_PowerAtiva = (EnergyData.phaseA.pot_ativa + EnergyData.phaseB.pot_ativa + EnergyData.phaseC.pot_ativa);
						EnergyData.Total_PowerFactor = (EnergyData.phaseA.pf + EnergyData.phaseB.pf + EnergyData.phaseC.pf);
						EnergyData.Total_PowerReativa = (EnergyData.phaseA.pot_reativa + EnergyData.phaseB.pot_reativa + EnergyData.phaseC.pot_reativa);
		 	  			accumulated_active_power = 0;
		 	  			cycle_count = 0;
		 	  		}

		 	  		if (uxQueueMessagesWaiting(energyqueueHandle) == 1) // Se a
		 	  		{
		 	  			xQueueOverwrite(energyqueueHandle, &EnergyData);
		 	  		}
		 	  		else
		 	  		{
		 	  			//alimenta queue
		 	  			xQueueSend(energyqueueHandle, &EnergyData, 0);
		 	  		}

		 	    }

  /* USER CODE END 5 */
}
  /* USER CODE END 5 */

void StartUartTask(void *argument)
{
  /* USER CODE BEGIN StartUartTask */
	uint8_t receivedByte;
		uint8_t null = 0;

		HAL_UART_Receive_IT(&huart2, (uint8_t *)&rx_buffer, 1);
	  /* Infinite loop */
		while(1)
		{
		  if(m_blnReply == 0)
		  {
			  if((m_udtUartmachineStates == UMS_RECEIVING)){
				// Se houver dados recebidos na fila
				if (xQueueReceive(rxuartqueueHandle, &receivedByte, portMAX_DELAY)) {
					// Processa o byte recebido
					UartMainProcess(receivedByte);
				}
			  }
			  else if ((m_udtUartmachineStates == UMS_PROCESSING_RESPONSE_PACKAGE))
			  {
				  UartMainProcess(null);
			  }
			  else if ((m_udtUartmachineStates == UMS_SENDING_RESPONSE))
			  {
				UartMainProcess(null);
			  }
		  }
		  else
		  {
			  HAL_UART_Transmit_IT(&huart2, (uint8_t *)&tx_buffer, m_ucTXBufferCorrentDataPos);
			  xSemaphoreTake(uartBinSemaHandle, portMAX_DELAY);
			  m_ucTXBufferCorrentDataPos = 0;

			  m_blnReply = 0;
		  }

		}
  /* USER CODE END StartUartTask */
}

void HAL_TIM_PeriodElapsedCallback(TIM_HandleTypeDef *htim)
{
  if (htim->Instance == TIM1)
  {
    HAL_IncTick();
  }
}

void Error_Handler(void)
{
  __disable_irq();
  while (1)
  {
  }
}
